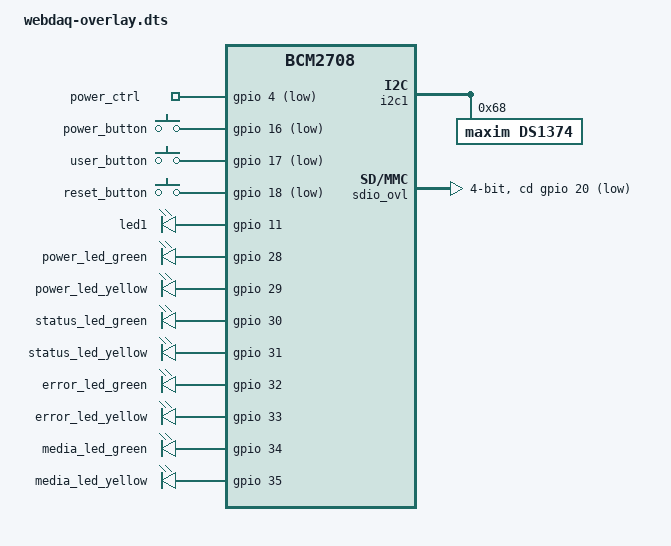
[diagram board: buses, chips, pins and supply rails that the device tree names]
/dts-v1/;
/plugin/;

/ {
    compatible = "brcm,bcm2708";

    fragment@0 {
        target-path = "/";
        __overlay__ {
            power_ctrl: power_ctrl {
                compatible = "gpio-poweroff";
                gpios = <&gpio 4 1>;  /* active low */
                force;
            };
        };
    };
 
    fragment@1 {
        target-path = "/soc";
        __overlay__ {
            buttons {
                compatible = "gpio-keys";
                #autorepeat;
                #address-cells = <1>;
                #size-cells = <0>;
                status = "okay";
                power_button: power_button {
                    label = "power_button";
                    linux,code = <116>;  /* KEY_POWER */
                    gpios = <&gpio 16 1>; /* active low */
                };
                user_button: user_button {
                    label = "user_button";
                    linux,code = <30>;      /* KEY_A */
                    gpios = <&gpio 17 1>;  /* active low */
                };
                reset_button: reset_button {
                    label = "reset_button";
                    linux,code = <48>;      /* KEY_B */
                    gpios = <&gpio 18 1>;  /* active low */
                };
            };
        };
    };

    fragment@2 {
        target = <&gpio>;
        __overlay__ {
           power_ctrl_pin: power_ctrl_pin {
                brcm,pins = <4>;
                brcm,function = <1>; /* output */
                brcm,pull = <0>; /* none */
            };

            power_button_pin: power_button_pin {
                brcm,pins = <16>;
                brcm,function = <0>; /* input */
                brcm,pull = <0>;    /* none */
            };

            button1_pin: button1_pin {
                brcm,pins = <17>;
                brcm,function = <0>; /* input */
                brcm,pull = <0>;    /* none */
            };

            resetbutton_pin: resetbutton_pin {
                brcm,pins = <18>;
                brcm,function = <0>; /* input */
                brcm,pull = <0>;    /* none */
            };
            
            sdsocket_mmc_pins: sdsocket_mmc_pins {
                brcm,pins = <22 23 24 25 26 27>;
                brcm,function = <7>; /* alt 3 */
                brcm,pull = <0>;    /* no pull */
            };
        };
    };

    fragment@3 {
        target = <&leds>;
        __overlay__ {
            led1: led1 {
                label = "led1";
                linux,default-trigger = "mmc1";
                gpios = <&gpio 11 0>;
            };
            power_led_green: power_led_green {
                label = "power_led_green";
                linux,default-trigger = "default-on";
                gpios = <&gpio 28 0>;
            };
            power_led_yellow: power_led_yellow {
                label = "power_led_yellow";
                linux,default-trigger = "none";
                gpios = <&gpio 29 0>;
            };
            status_led_green: status_led_green {
                label = "status_led_green";
                linux,default-trigger = "none";
                gpios = <&gpio 30 0>;
            };
            status_led_yellow: status_led_yellow {
                label = "status_led_yellow";
                linux,default-trigger = "none";
                gpios = <&gpio 31 0>;
            };
            error_led_green: error_led_green {
                label = "error_led_green";
                linux,default-trigger = "none";
                gpios = <&gpio 32 0>;
            };
            error_led_yellow: error_led_yellow {
                label = "error_led_yellow";
                linux,default-trigger = "none";
                gpios = <&gpio 33 0>;
            };
            media_led_green: media_led_green {
                label = "media_led_green";
                linux,default-trigger = "none";
                gpios = <&gpio 34 0>;
            };
            media_led_yellow: media_led_yellow {
                label = "media_led_yellow";
                linux,default-trigger = "none";
                gpios = <&gpio 35 0>;
            };
        };
    };
    
    fragment@4 {
        target = <&i2c1>;
        __overlay__ {
            #address-cells = <1>;
            #size-cells = <0>;
            status = "okay";

            ds1374: ds1374@68 {
                compatible = "maxim,ds1374";
                reg = <0x68>;
                status = "okay";
            };
        };
    };

    fragment@5 {
        target = <&mmc>;
        __overlay__ {
            status = "disabled";
        };
    };

    fragment@6 {
	target = <&soc>;
	__overlay__ {
            #address-cells = <1>;
            #size-cells = <1>;

            sdio_ovl: sdio@7e300000 {
                compatible = "brcm,bcm2835-mmc",
                             "brcm,bcm2835-sdhci";
                reg = <0x7e300000 0x100>;
                interrupts = <2 30>;
                clocks = <&clocks 28/*BCM2835_CLOCK_EMMC*/>;
                dmas = <&dma 11>;
                dma-names = "rx-tx";
                brcm,overclock-50 = <0>;
                status = "okay";
                pinctrl-names = "default";
                pinctrl-0 = <&sdsocket_mmc_pins>;
                bus-width = <4>;           
                cd-gpios = <&gpio 20 0>;
                cd-inverted;
            };
        };
    };

    fragment@7 {
        target-path = "/aliases";
        __overlay__ {
            mmc1 = "/soc/sdio@7e300000";
        };
    };

    __overrides__ {
        led1_trigger = <&led1>,"linux,default-trigger";
        power_led_green_trigger = <&power_led_green>,"linux,default-trigger";
        power_led_yellow_trigger = <&power_led_yellow>,"linux,default-trigger";
        status_led_green_trigger = <&status_led_green>,"linux,default-trigger";
        status_led_yellow_trigger = <&status_led_yellow>,"linux,default-trigger";
        error_led_green_trigger = <&error_led_green>,"linux,default-trigger";
        error_led_yellow_trigger = <&error_led_yellow>,"linux,default-trigger";
        media_led_green_trigger = <&media_led_green>,"linux,default-trigger";
        media_led_yellow_trigger = <&media_led_yellow>,"linux,default-trigger";
        power_button_keycode = <&power_button>,"linux,code:0";
        user_button_keycode = <&user_button>,"linux,code:0";
        reset_button_keycode = <&reset_button>,"linux,code:0";
        sdio_overclock = <&sdio_ovl>,"brcm,overclock-50:0";
    };
};

